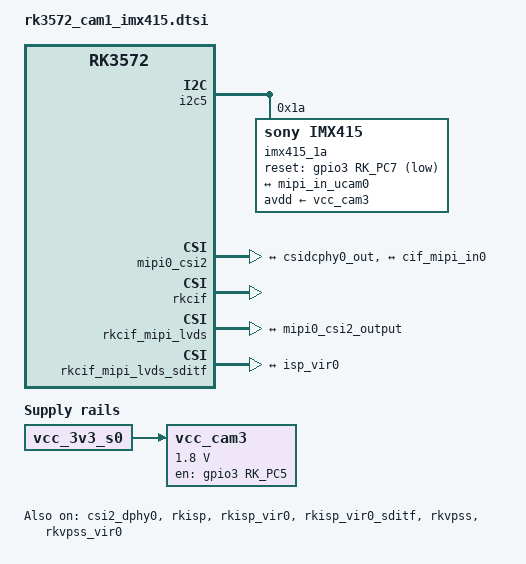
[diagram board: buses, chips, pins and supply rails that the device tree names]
// SPDX-License-Identifier: (GPL-2.0+ OR MIT)
/*
 * IMX415 MIPI camera (CAM1) configuration for RK3572.
 *
 * Wiring:
 *   - sensor      : Sony IMX415, on I2C5 (i2c5m3: GPIO3_C1/C4), addr 0x1a
 *   - xvclk       : CAM_CLK0 output, M0 mux (GPIO3_D7, cam_clk0m0_clk0_pins)
 *   - MIPI        : CSI2 D-PHY RX, 4 data lanes
 *                   imx415 -> csi2_dphy0 -> mipi0_csi2 ->
 *                   rkcif_mipi_lvds -> rkisp_vir0 -> userspace
 *   - power en    : GPIO3_C5, active high (module power switch)
 *   - reset       : GPIO3_C7, active low
 */

/ {
	vcc_cam3: vcc-cam3 {
		compatible = "regulator-fixed";
		regulator-name = "vcc_cam3";
		regulator-boot-on;
		regulator-always-on;
		regulator-min-microvolt = <1800000>;
		regulator-max-microvolt = <1800000>;
		enable-active-high;
		gpio = <&gpio3 RK_PC5 GPIO_ACTIVE_HIGH>;
		//gpio = <&gpio3 RK_PC6 GPIO_ACTIVE_HIGH>;
		vin-supply = <&vcc_3v3_s0>;
		pinctrl-names = "default";
		pinctrl-0 = <&vcc_cam3_pwr>;
	};
};

&i2c5 {
	status = "okay";
	pinctrl-names = "default";
	pinctrl-0 = <&i2c5m3_xfer_pins>;

	imx415_1a: imx415@1a {
		compatible = "sony,imx415";
		reg = <0x1a>;
		clocks = <&cru CAM_CLK0_OUT_IOUT>;
		//clocks = <&cru CAM_CLK1_OUT_IOUT>;
		clock-names = "xvclk";
		pinctrl-names = "default";
		pinctrl-0 = <&cam_clk0m0_clk0_pins &imx415_reset_pwr>;
		//pinctrl-0 = <&cam_clk1m0_clk1_pins &imx415_reset_pwr>;
		power-domains = <&power RK3572_PD_VI>;
		/* module power stays on via vcc_cam3, reset toggles the sensor */
		reset-gpios = <&gpio3 RK_PC7 GPIO_ACTIVE_LOW>;
		avdd-supply = <&vcc_cam3>;
		rockchip,camera-module-index = <0>;
		rockchip,camera-module-facing = "back";
		rockchip,camera-module-name = "CMK-OT2022-PX1";
		rockchip,camera-module-lens-name = "IR0147-50IRC-8M-F20";
		port {
			imx415_out0: endpoint {
				remote-endpoint = <&mipi_in_ucam0>;
				data-lanes = <1 2 3 4>;
			};
		};
	};
};

/* CSI2 D-PHY RX, full mode, 4 lanes */
&csi2_dphy0 {
	status = "okay";

	ports {
		#address-cells = <1>;
		#size-cells = <0>;

		port@0 {
			reg = <0>;
			#address-cells = <1>;
			#size-cells = <0>;

			mipi_in_ucam0: endpoint@1 {
				reg = <1>;
				remote-endpoint = <&imx415_out0>;
				data-lanes = <1 2 3 4>;
			};
		};

		port@1 {
			reg = <1>;
			#address-cells = <1>;
			#size-cells = <0>;

			csidcphy0_out: endpoint@0 {
				reg = <0>;
				remote-endpoint = <&mipi0_csi2_input>;
			};
		};
	};
};

&mipi0_csi2 {
	status = "okay";

	ports {
		#address-cells = <1>;
		#size-cells = <0>;

		port@0 {
			reg = <0>;
			#address-cells = <1>;
			#size-cells = <0>;

			mipi0_csi2_input: endpoint@1 {
				reg = <1>;
				remote-endpoint = <&csidcphy0_out>;
			};
		};

		port@1 {
			reg = <1>;
			#address-cells = <1>;
			#size-cells = <0>;

			mipi0_csi2_output: endpoint@0 {
				reg = <0>;
				remote-endpoint = <&cif_mipi_in0>;
			};
		};
	};
};

&rkcif {
	status = "okay";
};

&rkcif_mipi_lvds {
	status = "okay";

	port {
		cif_mipi_in0: endpoint {
			remote-endpoint = <&mipi0_csi2_output>;
		};
	};
};

&rkcif_mipi_lvds_sditf {
	status = "okay";

	port {
		mipi_lvds_sditf: endpoint {
			remote-endpoint = <&isp_vir0>;
		};
	};
};

&rkcif_mmu {
	status = "okay";
};

&rkisp {
	status = "okay";
};

&rkisp_mmu {
	status = "okay";
};

&rkisp_vir0 {
	status = "okay";

	port {
		#address-cells = <1>;
		#size-cells = <0>;

		isp_vir0: endpoint@0 {
			reg = <0>;
			remote-endpoint = <&mipi_lvds_sditf>;
		};
	};
};

&rkisp_vir0_sditf {
	status = "okay";
};

&rkvpss {
	status = "okay";
};

&rkvpss_mmu {
	status = "okay";
};

&rkvpss_vir0 {
	status = "okay";
};

&pinctrl {
	cam {
		vcc_cam3_pwr: vcc-cam3-pwr {
			/* camera power enable, active high */
			rockchip,pins = <3 RK_PC5 RK_FUNC_GPIO &pcfg_pull_none>;
			//rockchip,pins = <3 RK_PC6 RK_FUNC_GPIO &pcfg_pull_none>;
		};

		imx415_reset_pwr: imx415-reset-pwr {
			/* imx415 XCLR, active low */
			rockchip,pins = <3 RK_PC7 RK_FUNC_GPIO &pcfg_pull_none>;
		};
	};
};
